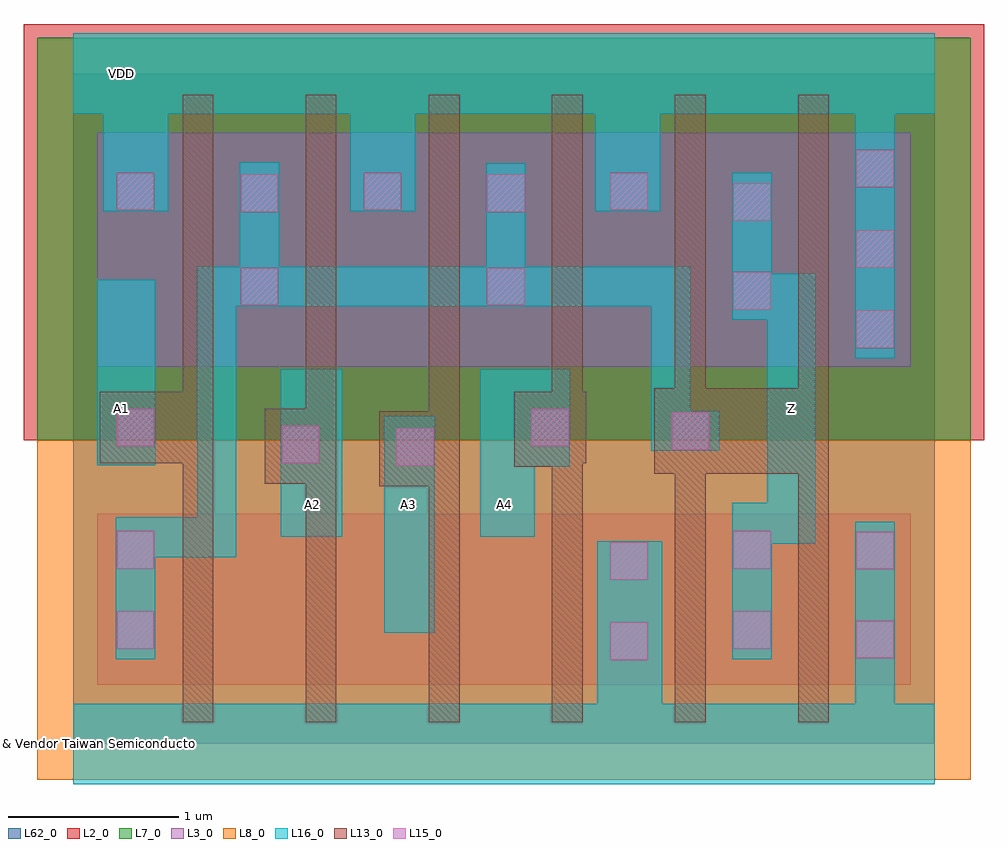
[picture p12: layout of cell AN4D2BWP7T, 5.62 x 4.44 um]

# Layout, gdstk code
import gdstk
lib = gdstk.Library(unit=1e-6, precision=1e-09)
def R(c, l, rs):  # rectangles x0, y0, x1, y1
    for r in rs: c.add(gdstk.rectangle(r[:2], r[2:], *l))
def A(c, l, x, y, w, h, nx, ny, dx, dy):  # array of equal rectangles
    R(c, l, [(x+i*dx, y+j*dy, x+i*dx+w, y+j*dy+h) for i in range(nx) for j in range(ny)])
def P(c, l, *ps):  # polygons
    for p in ps: c.add(gdstk.Polygon(p, *l))
L2_0 = (2, 0)
L3_0 = (3, 0)
L7_0 = (7, 0)
L8_0 = (8, 0)
L13_0 = (13, 0)
L15_0 = (15, 0)
L16_0 = (16, 0)
L62_0 = (62, 0)

an4d2bwp7t = lib.new_cell('AN4D2BWP7T')
R(an4d2bwp7t, L2_0, [(-0.29,1.775,5.33,4.21)])
R(an4d2bwp7t, L3_0, [(0.14,0.345,4.9,1.345), (0.14,2.205,4.9,3.575)])
R(an4d2bwp7t, L7_0, [(-0.21,1.775,5.25,4.13)])
R(an4d2bwp7t, L8_0, [(-0.21,-0.21,5.25,1.775)])
P(an4d2bwp7t, L13_0, [(2.8,0.125),(2.8,1.62),(2.58,1.62),(2.58,2.06),(2.8,2.06),(2.8,3.795),(2.98,3.795),(2.98,2.06),(3,2.06),(3,1.64),(2.98,1.64),(2.98,0.125)],
  [(2.08,0.125),(2.08,1.505),(1.79,1.505),(1.79,1.945),(2.08,1.945),(2.08,3.795),(2.26,3.795),(2.26,0.125)],
  [(1.36,0.125),(1.36,1.52),(1.12,1.52),(1.12,1.96),(1.36,1.96),(1.36,3.795),(1.54,3.795),(1.54,0.125)],
  [(0.64,0.125),(0.64,1.64),(0.155,1.64),(0.155,2.06),(0.64,2.06),(0.64,3.795),(0.82,3.795),(0.82,0.125)],
  [(3.52,0.125),(3.52,1.58),(3.4,1.58),(3.4,2.08),(3.52,2.08),(3.52,3.795),(3.7,3.795),(3.7,2.08),(4.24,2.08),(4.24,3.795),(4.42,3.795),(4.42,0.125),(4.24,0.125),(4.24,1.58),(3.7,1.58),(3.7,0.125)])
A(an4d2bwp7t, L15_0, 4.58, 2.315, 0.22, 0.22, 1, 3, 0, 0.47)
R(an4d2bwp7t, L15_0, [(3.14,0.49,3.36,0.71), (4.58,0.5,4.8,0.72), (0.255,0.555,0.475,0.775), (3.86,0.555,4.08,0.775), (3.14,0.96,3.36,1.18), (4.58,1.02,4.8,1.24), (0.255,1.025,0.475,1.245), (3.86,1.025,4.08,1.245), (1.89,1.625,2.11,1.845), (1.22,1.64,1.44,1.86), (3.5,1.72,3.72,1.94), (0.255,1.74,0.475,1.96), (2.68,1.74,2.9,1.96), (3.86,2.54,4.08,2.76), (0.98,2.565,1.2,2.785), (2.42,2.565,2.64,2.785), (3.86,3.06,4.08,3.28), (0.98,3.11,1.2,3.33), (2.42,3.11,2.64,3.33), (0.255,3.12,0.475,3.34), (1.7,3.12,1.92,3.34), (3.14,3.12,3.36,3.34)])
R(an4d2bwp7t, L16_0, [(1.82,0.65,2.115,1.915), (1.215,1.21,1.575,2.19), (0.14,1.63,0.48,2.715)])
P(an4d2bwp7t, L16_0, [(0,-0.235),(0,0.235),(3.065,0.235),(3.065,1.185),(3.445,1.185),(3.445,0.235),(4.575,0.235),(4.575,1.3),(4.805,1.3),(4.805,0.235),(5.04,0.235),(5.04,-0.235)],
  [(4.575,2.255),(4.575,3.685),(3.435,3.685),(3.435,3.115),(3.055,3.115),(3.055,3.685),(2,3.685),(2,3.115),(1.62,3.115),(1.62,3.685),(0.555,3.685),(0.555,3.115),(0.175,3.115),(0.175,3.685),(0,3.685),(0,4.155),(5.04,4.155),(5.04,3.685),(4.805,3.685),(4.805,2.255)],
  [(3.855,0.495),(3.855,1.41),(4.06,1.41),(4.06,2.48),(3.855,2.48),(3.855,3.34),(4.085,3.34),(4.085,2.75),(4.34,2.75),(4.34,1.17),(4.085,1.17),(4.085,0.495)],
  [(0.25,0.495),(0.25,1.325),(0.725,1.325),(0.725,2.79),(0.975,2.79),(0.975,3.4),(1.205,3.4),(1.205,2.79),(2.415,2.79),(2.415,3.395),(2.645,3.395),(2.645,2.79),(3.61,2.79),(3.61,1.945),(3.78,1.945),(3.78,1.715),(3.38,1.715),(3.38,2.56),(0.955,2.56),(0.955,1.09),(0.48,1.09),(0.48,0.495)],
  [(2.38,1.21),(2.38,2.19),(2.905,2.19),(2.905,1.62),(2.7,1.62),(2.7,1.21)])
R(an4d2bwp7t, L62_0, [(0,0,5.04,3.92)])
an4d2bwp7t.add(gdstk.Label('& Vendor Taiwan Semiconductor Manufacturing Corp.', (0,0), layer=63, texttype=63))
an4d2bwp7t.add(gdstk.Label('& Product tcb018gbwp7t', (0,0), layer=63, texttype=63))
an4d2bwp7t.add(gdstk.Label('& Version 270a', (0,0), layer=63, texttype=63))
an4d2bwp7t.add(gdstk.Label('& Metric 19.757', (0,0), layer=63, texttype=63))
an4d2bwp7t.add(gdstk.Label('& Distributor TSMC', (0,0), layer=63, texttype=63))
an4d2bwp7t.add(gdstk.Label('& SerialNumber 000000', (0,0), layer=63, texttype=63))
an4d2bwp7t.add(gdstk.Label('& _Instance_tag AN4D2BWP7T', (0,0), layer=63, texttype=63))
an4d2bwp7t.add(gdstk.Label('& Vendor Taiwan Semiconductor Manufacturing Corp.', (0,0), layer=11, texttype=0))
an4d2bwp7t.add(gdstk.Label('& Product tcb018gbwp7t', (0,0), layer=11, texttype=0))
an4d2bwp7t.add(gdstk.Label('& Version 270a', (0,0), layer=11, texttype=0))
an4d2bwp7t.add(gdstk.Label('& Metric 19.757', (0,0), layer=11, texttype=0))
an4d2bwp7t.add(gdstk.Label('& Distributor TSMC', (0,0), layer=11, texttype=0))
an4d2bwp7t.add(gdstk.Label('& SerialNumber 000000', (0,0), layer=11, texttype=0))
an4d2bwp7t.add(gdstk.Label('& _Instance_tag AN4D2BWP7T', (0,0), layer=11, texttype=0))
an4d2bwp7t.add(gdstk.Label('AN4D2BWP7T', (0,0), layer=59, texttype=0))
an4d2bwp7t.add(gdstk.Label('VSS', (0.28,0), layer=40, texttype=0))
an4d2bwp7t.add(gdstk.Label('A1', (0.28,1.96), layer=40, texttype=0))
an4d2bwp7t.add(gdstk.Label('VDD', (0.28,3.92), layer=40, texttype=0))
an4d2bwp7t.add(gdstk.Label('A2', (1.4,1.4), layer=40, texttype=0))
an4d2bwp7t.add(gdstk.Label('A3', (1.96,1.4), layer=40, texttype=0))
an4d2bwp7t.add(gdstk.Label('A4', (2.52,1.4), layer=40, texttype=0))
an4d2bwp7t.add(gdstk.Label('Z', (4.2,1.96), layer=40, texttype=0))

lib.write_gds('AN4D2BWP7T.gds')
